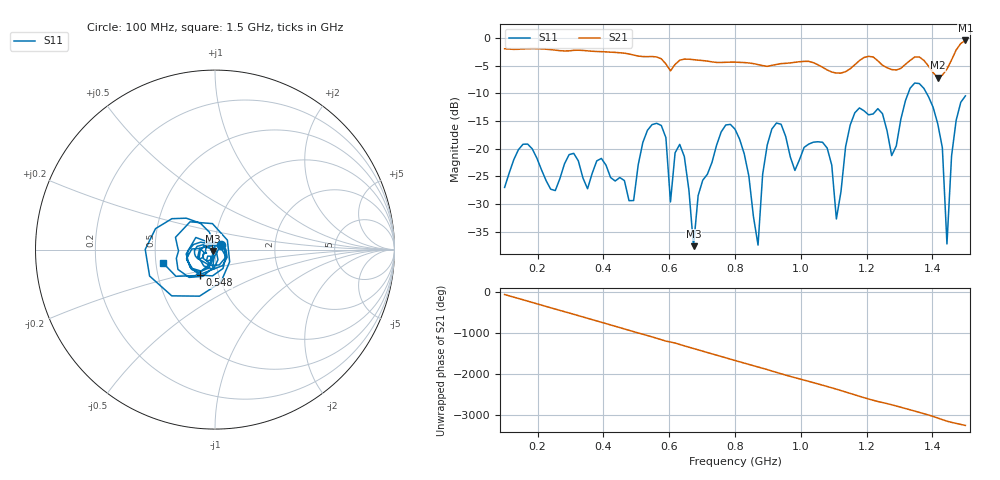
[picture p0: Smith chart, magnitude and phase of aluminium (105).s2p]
! NanoVNA-App
! Date: 2025-09-26 09:58:52
! Start: 100MHz Stop: 1,5GHz Points: 101
! S-Parameter data: F S11 S21 S12 S22
# Hz S RI R 50
!  Frequency  S11_Real  S11_Imag  S21_Real  S21_Imag  S12_Real  S12_Imag  S22_Real  S22_Imag
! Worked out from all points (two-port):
!   101 points, 100 MHz to 1.5 GHz, reference 50 ohm
!   highest |S21| = -0.42 dB at 1.5 GHz (marker M1); lowest = -7.1 dB at 1.416 GHz (marker M2)
!   |S21| within 3 dB of the highest: start of sweep to 562.7 MHz; 1.462 GHz to end of sweep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
!   lowest |S11| = -37.6 dB at 674 MHz (marker M3), VSWR 1.03, Z = 48.9 - j0.742 ohm
!   |S11| at or under -10 dB: start of sweep to 1.326 GHz; 1.383 GHz to end of sweep
!   S12 and S22 are empty: the file has one direction only
!   S11 on the Smith chart (normalised r, x): 100 MHz: 1.07, +0.06; 548 MHz: 0.81, -0.24; 1.5 GHz: 0.54, -0.09
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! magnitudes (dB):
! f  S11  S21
! 100 MHz  -27.0  -1.9
! 156 MHz  -19.2  -2.0
! 338 MHz  -25.3  -2.2
! 492 MHz  -29.3  -3.1
! 548 MHz  -15.6  -3.3
! 576 MHz  -15.8  -3.7
! 604 MHz  -29.6  -5.9
! 646 MHz  -21.4  -3.8
! 674 MHz  -37.6  -3.9
! 800 MHz  -16.5  -4.3
! 870 MHz  -37.4  -4.8
! 912 MHz  -16.4  -4.9
! 1.038 GHz  -18.8  -4.4
! 1.08 GHz  -19.9  -5.7
! 1.108 GHz  -32.7  -6.3
! 1.164 GHz  -13.5  -4.8
! 1.276 GHz  -21.2  -5.7
! 1.346 GHz  -8.1  -3.4
! 1.416 GHz  -15.5  -7.1
! 1.444 GHz  -37.2  -5.6
! 1.458 GHz  -21.3  -3.9
! 1.5 GHz  -10.4  -0.4
